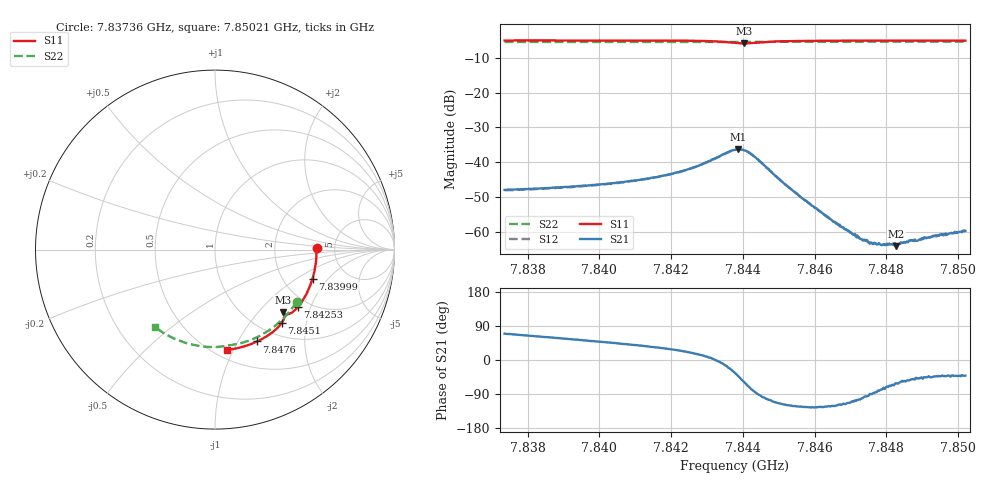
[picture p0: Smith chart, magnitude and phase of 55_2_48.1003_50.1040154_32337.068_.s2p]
#  HZ  S  RI  R  50.00
! Rohde & Schwarz Vector Network Analyzer
! Rohde-Schwarz,ZNB20-2Port,1311601062101988,3.16
! Created: UTC 12/23/2023, 3:40:11 AM
! freq[Hz]  re:S11  im:S11  re:S21  im:S21  re:S12  im:S12  re:S22  im:S22
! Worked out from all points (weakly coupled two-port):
!   401 points, 7.83736 GHz to 7.85021 GHz, reference 50 ohm
!   highest |S21| = -36.25 dB at 7.84388 GHz (marker M1); lowest = -64.2 dB at 7.84828 GHz (marker M2)
!   lowest |S11| = -5.8 dB at 7.84404 GHz (marker M3), VSWR 3.12, Z = 72.1 - j68.5 ohm
!   |S11| at or under -10 dB: nowhere
!   |S22| runs from -5.4 to -5.3 dB; largest |S21 - S12| = 0.00034
!   S11 on the Smith chart (normalised r, x): 7.83736 GHz: 3.61, +0.12; 7.83999 GHz: 2.89, -1.38; 7.84253 GHz: 1.75, -1.63; 7.8451 GHz: 1.24, -1.46; 7.8476 GHz: 0.80, -1.21; 7.85021 GHz: 0.58, -0.94
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7.837359e9  0.5664 0.0111  0.0014 0.00373  0.00141 0.00366  0.4541 -0.292
7.839511e9  0.5516 -0.1311  0.00276 0.00361  0.00271 0.00355  0.3563 -0.4064
7.839992e9  0.5433 -0.1626  0.00316 0.00358  0.00312 0.00355  0.3305 -0.428
7.840763e9  0.5256 -0.2117  0.00394 0.00351  0.00385 0.00348  0.2863 -0.459
7.841663e9  0.4982 -0.2677  0.00525 0.00333  0.00517 0.00333  0.2311 -0.4897
7.84253e9  0.4624 -0.3196  0.0076 0.00274  0.00752 0.00275  0.1744 -0.5126
7.843333e9  0.4124 -0.3589  0.0119 -0.000979  0.012 -0.000786  0.1198 -0.527
7.843782e9  0.38 -0.3583  0.0125 -0.00855  0.0125 -0.00834  0.0898 -0.5317
7.843879e9  0.3768 -0.3546  0.0112 -0.0105  0.0112 -0.0104  0.0835 -0.5325
7.844039e9  0.377 -0.3497  0.00768 -0.0126  0.00775 -0.0126  0.0737 -0.534
7.844361e9  0.3864 -0.3569  0.000863 -0.0116  0.000923 -0.0116  0.0528 -0.5379
7.845099e9  0.3729 -0.4073  -0.00232 -0.00467  -0.00234 -0.00469  0.00114 -0.5427
7.845934e9  0.3312 -0.4514  -0.00132 -0.00194  -0.00136 -0.00197  -0.0578 -0.5406
7.846545e9  0.2969 -0.4769  -0.000718 -0.00117  -0.000705 -0.00118  -0.1004 -0.5348
7.846834e9  0.2803 -0.4874  -0.000478 -0.000988  -0.000484 -0.000966  -0.1201 -0.5309
7.847123e9  0.2631 -0.4973  -0.000262 -0.000865  -0.000304 -0.000874  -0.14 -0.5263
7.847605e9  0.2341 -0.512  3.6e-06 -0.000682  -9.62e-06 -0.000662  -0.1724 -0.5169
7.847926e9  0.2141 -0.5207  0.000192 -0.000632  0.000166 -0.000636  -0.1938 -0.5094
7.848086e9  0.2043 -0.5247  0.000252 -0.000618  0.000229 -0.000621  -0.2043 -0.5054
7.848279e9  0.1919 -0.5293  0.000296 -0.00054  0.000284 -0.000563  -0.2168 -0.5002
7.849371e9  0.1219 -0.5496  0.000645 -0.000604  0.000623 -0.000598  -0.285 -0.4653
7.850206e9  0.0671 -0.5586  0.000769 -0.000672  0.000781 -0.000686  -0.3334 -0.4326
